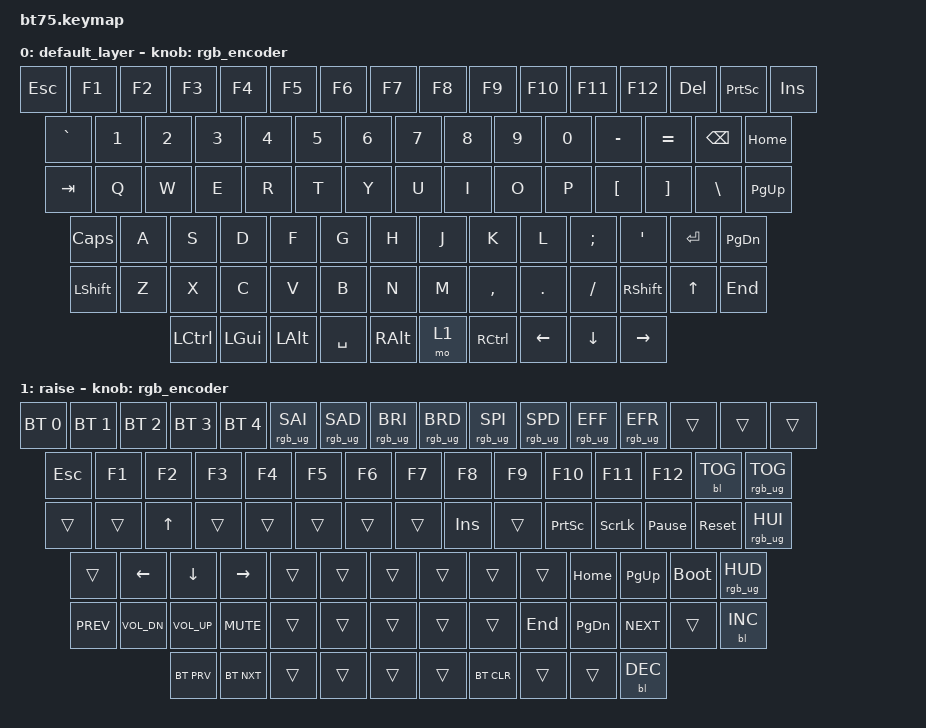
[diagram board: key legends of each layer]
#include <behaviors.dtsi>
#include <dt-bindings/zmk/keys.h>
#include <dt-bindings/zmk/bt.h>
#include <dt-bindings/zmk/rgb.h>
#include <dt-bindings/zmk/backlight.h>
#include <dt-bindings/zmk/ext_power.h>


/ {

	behaviors {
        	rgb_encoder: rgb_encoder {
            		compatible = "zmk,behavior-sensor-rotate";
            		label = "RGB_ENCODER";
            		#sensor-binding-cells = <0>;
            		bindings = <&rgb_ug RGB_BRI>, <&rgb_ug RGB_BRD>;
        		};
    	};

	keymap {
		compatible = "zmk,keymap";
		default_layer {
				// ------------------------------------------------------------------------------------------------------------
				// | ESC | F1  | F2  | F3  | F4  | F5  | F6  | F7  | F9  | F9  | F10 | F11 | F12 | DEL | PSCRN | INS	|
				// |  `  |  1  |  2  |  3  |  4  |  5  |  6  |  7  |  8  |  9  |  0  |  -  |  =  |   BKSP   | HOME	|
				// | TAB  |  Q  |  W  |  E  |  R  |  T  |  Y  |  U  |  I  |  O  |  P  |  [  |  ]  |    \    | PG UP |
				// | CAPS  |  A  |  S  |  D  |  F  |  G  |  H  |  J  |  K  |  L  |  ;  |  '  |     ENTER     | PG DN |
				// |  SHIFT    |  Z  |  X  |  C  |  V  |  B  |  N  |  M  |  ,  |  .  | /   |    SHIFT |  UP  |  END  |
				// |  CTL  |  WIN  |  ALT  |            SPACE               | ALT | 1  | CTRL |  LEFT | DOWN | RIGHT |
				// ------------------------------------------------------------------------------------------------------------
			bindings = <
				&kp ESC &kp F1 &kp F2 &kp F3 &kp F4 &kp F5 &kp F6 &kp F7 &kp  F8   &kp  F9 &kp  F10  &kp F11 &kp F12   &kp DEL &kp PSCRN &kp INS
				&kp GRAVE &kp N1 &kp N2 &kp N3 &kp N4 &kp N5 &kp N6 &kp N7 &kp  N8   &kp  N9   &kp N0 &kp MINUS &kp EQUAL &kp BKSP &kp HOME
				&kp TAB  &kp Q  &kp W  &kp E  &kp R  &kp T  &kp Y  &kp U  &kp  I    &kp  O  &kp  P   &kp LBKT &kp RBKT  	&kp BSLH &kp PG_UP
				&kp CLCK  &kp A  &kp S  &kp D  &kp F  &kp G  &kp H  &kp J  &kp  K    &kp  L  &kp SEMI &kp SQT           	&kp RET &kp PG_DN
				&kp LSHFT  &kp Z  &kp X  &kp C  &kp V  &kp B  &kp N  &kp M  &kp COMMA &kp DOT &kp FSLH              &kp RSHFT &kp UP &kp END
				&kp LCTRL &kp LGUI &kp LALT            &kp SPACE                          &kp RALT  &mo 1 &kp RCTRL &kp LEFT &kp DOWN &kp RIGHT
			>;
            		sensor-bindings = <&rgb_encoder>;
		};
		raise {
			bindings = <
				&bt BT_SEL 0 &bt BT_SEL 1 &bt BT_SEL 2 &bt BT_SEL 3 &bt BT_SEL 4 &rgb_ug RGB_SAI &rgb_ug RGB_SAD &rgb_ug RGB_BRI &rgb_ug RGB_BRD &rgb_ug RGB_SPI &rgb_ug RGB_SPD &rgb_ug RGB_EFF &rgb_ug RGB_EFR &trans &trans &trans
				&kp ESC &kp F1 &kp F2 &kp F3 &kp F4 &kp F5 &kp F6 &kp F7 &kp  F8   &kp  F9   &kp F10  &kp F11 &kp F12 &bl BL_TOG &rgb_ug RGB_TOG
				&trans &trans &kp UP &trans &trans &trans &trans &trans &kp INS &trans &kp PSCRN &kp SLCK &kp PAUSE_BREAK &sys_reset &rgb_ug RGB_HUI
				&trans    &kp LEFT &kp DOWN &kp RIGHT &trans &trans &trans &trans &trans &trans &kp HOME  &kp PG_UP   &bootloader &rgb_ug RGB_HUD
				&kp C_PREV &kp C_VOL_DN &kp C_VOL_UP &kp C_MUTE &trans &trans &trans &trans &trans &kp END &kp PG_DN  &kp C_NEXT &trans &bl BL_INC
				&bt BT_PRV &bt BT_NXT  &trans              &trans                            &trans   &trans  &bt BT_CLR &trans &trans &bl BL_DEC
			>;
            		sensor-bindings = <&rgb_encoder>;
		};
	};
};
